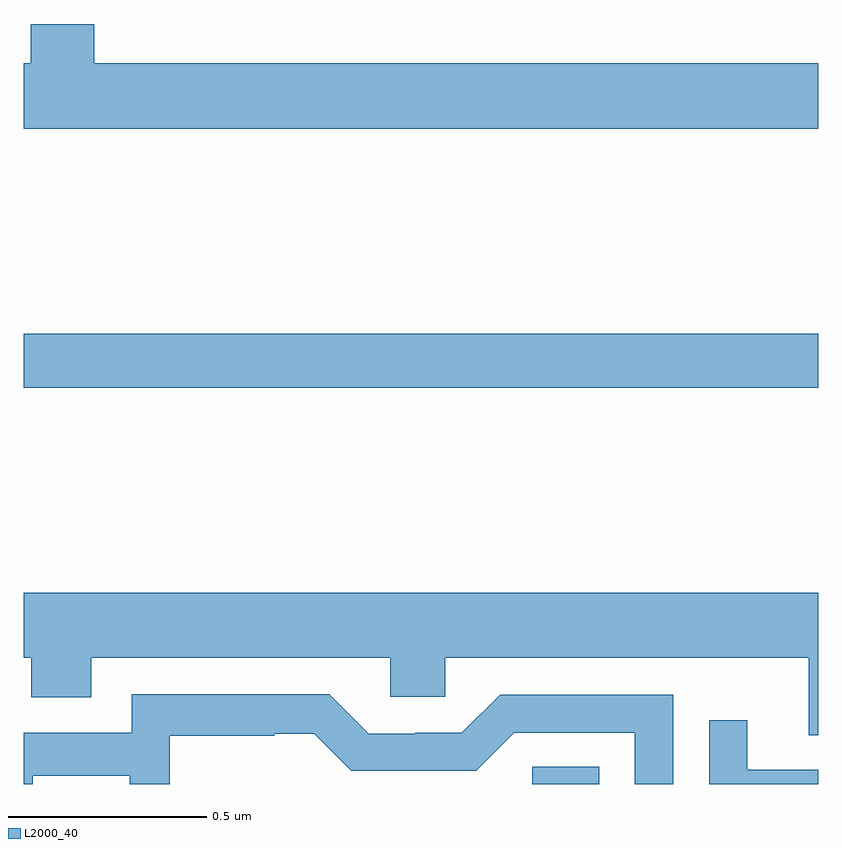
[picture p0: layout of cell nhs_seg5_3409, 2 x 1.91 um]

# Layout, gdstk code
import gdstk
lib = gdstk.Library(unit=1e-6, precision=1e-09)
def R(c, l, rs):  # rectangles x0, y0, x1, y1
    for r in rs: c.add(gdstk.rectangle(r[:2], r[2:], *l))
def P(c, l, *ps):  # polygons
    for p in ps: c.add(gdstk.Polygon(p, *l))
L2000_40 = (2000, 40)

nhs_seg5_3409 = lib.new_cell('nhs_seg5_3409')
R(nhs_seg5_3409, L2000_40, [(158.28,833.799,158.448,833.843), (157,834.796,159,834.932)])
P(nhs_seg5_3409, L2000_40, [(159,835.612),(157.178,835.612),(157.178,835.711),(157.018,835.711),(157.018,835.612),(157,835.612),(157,835.448),(159,835.448)],
  [(159,834.28),(157,834.28),(157,834.116),(157.019,834.116),(157.019,834.017),(157.171,834.017),(157.171,834.116),(157.923,834.116),(157.923,834.018),(158.061,834.018),(158.061,834.116),(158.975,834.116),(158.975,833.922),(159,833.922)],
  [(157.023,833.82),(157.267,833.82),(157.267,833.799),(157.368,833.799),(157.368,833.921),(157.631,833.921),(157.631,833.925),(157.731,833.925),(157.824,833.832),(158.139,833.832),(158.235,833.928),(158.538,833.928),(158.538,833.799),(158.634,833.799),(158.634,834.024),(158.199,834.024),(158.103,833.928),(157.985,833.928),(157.985,833.925),(157.869,833.925),(157.769,834.025),(157.272,834.025),(157.272,833.928),(157,833.928),(157,833.799),(157.023,833.799)],
  [(159,833.835),(158.821,833.835),(158.821,833.959),(158.725,833.959),(158.725,833.799),(159,833.799)])

lib.write_gds('nhs_seg5_3409.gds')
